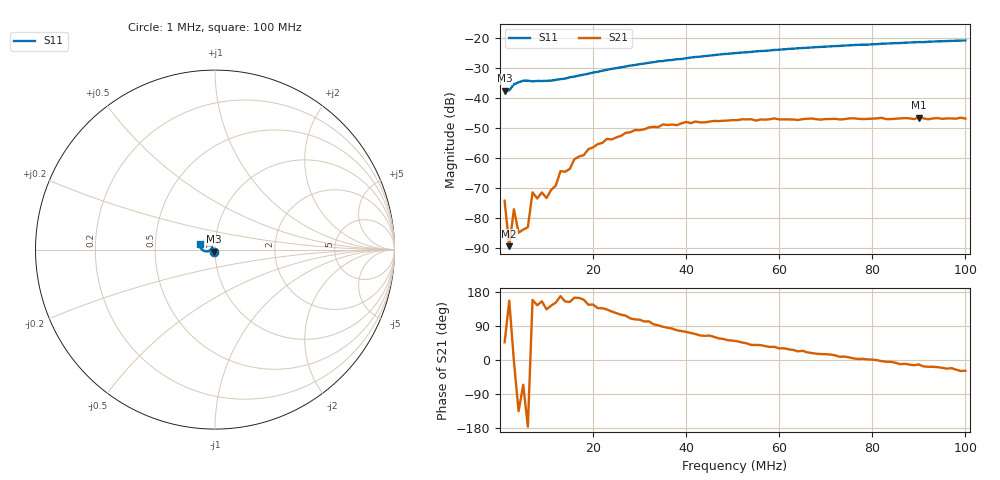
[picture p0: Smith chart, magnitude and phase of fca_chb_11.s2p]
# HZ S RI R 50
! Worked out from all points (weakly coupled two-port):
!   100 points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, 1 MHz to 100 MHz, reference 50 ohm
!   highest |S21| = -46.38 dB at 90 MHz (marker M1); lowest = -89.3 dB at 2 MHz (marker M2)
!   lowest |S11| = -37.5 dB at 1 MHz (marker M3), VSWR 1.03, Z = 49.4 - j1.16 ohm
!   |S11| at or under -10 dB: start of sweep to end of sweep
!   S12 and S22 are empty: the file has one direction only
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1000001  -0.00637 -0.0118  0.000135 0.000143  0 0  0 0
2000001  -0.0127 0.00465  -3.16e-05 1.37e-05  0 0  0 0
3000001  -0.0148 0.00887  0.000142 -7.7e-06  0 0  0 0
4000001  -0.0153 0.0104  -4.11e-05 -4.08e-05  0 0  0 0
6000001  -0.0169 0.01  -7.13e-05 -4.9e-06  0 0  0 0
7000001  -0.0168 0.00936  -0.000253 9.96e-05  0 0  0 0
8000001  -0.0176 0.00853  -0.000175 0.000125  0 0  0 0
9000001  -0.0179 0.00756  -0.000245 0.000115  0 0  0 0
1e7  -0.0186 0.00635  -0.000151 0.000158  0 0  0 0
1.2e7  -0.0199 0.00423  -0.000309 0.000169  0 0  0 0
1.3e7  -0.0207 0.0033  -0.0006 0.000123  0 0  0 0
1.5e7  -0.0224 0.00136  -0.000595 0.000301  0 0  0 0
1.6e7  -0.0231 0.000528  -0.000934 0.000259  0 0  0 0
1.8e7  -0.0248 -0.00115  -0.00106 0.000403  0 0  0 0
1.9e7  -0.0257 -0.00169  -0.00118 0.0008  0 0  0 0
2.3e7  -0.0296 -0.00442  -0.00145 0.00154  0 0  0 0
3.4e7  -0.0405 -0.00906  -8.94e-05 0.00332  0 0  0 0
5.1e7  -0.0566 -0.00825  0.00282 0.00329  0 0  0 0
6.7e7  -0.0705 -0.000978  0.00438 0.00146  0 0  0 0
8.4e7  -0.0814 0.0136  0.0045 -0.000362  0 0  0 0
9e7  -0.0843 0.0202  0.0047 -0.000973  0 0  0 0
1e8  -0.0862 0.0329  0.00406 -0.00218  0 0  0 0
